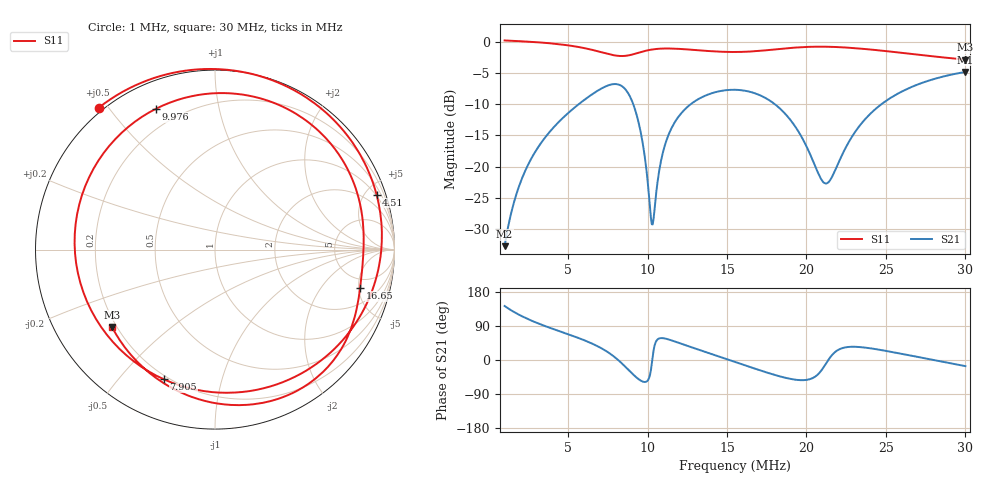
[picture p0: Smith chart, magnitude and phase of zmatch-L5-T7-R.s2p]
# HZ S RI R 50
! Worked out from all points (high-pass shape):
!   505 points, 1 MHz to 30 MHz, reference 50 ohm
!   highest |S21| = -4.85 dB at 30 MHz (marker M1); lowest = -32.7 dB at 1 MHz (marker M2)
!   |S21| within 3 dB of the highest: 6.861 MHz to 8.666 MHz (1.805 MHz wide, 23.3 % of centre); 26.11 MHz to end of sweep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
!   lowest |S11| = -2.9 dB at 30 MHz (marker M3), VSWR 6.09, Z = 9.1 - j16.2 ohm
!   |S11| at or under -10 dB: nowhere
!   S12 and S22 are empty: the file has one direction only
!   S11 on the Smith chart (normalised r, x): 1 MHz: -0.01, +0.47; 4.51 MHz: 0.92, +5.90; 7.905 MHz: 0.18, -0.67; 9.976 MHz: 0.12, +0.66; 16.65 MHz: 3.65, -5.19; 30 MHz: 0.18, -0.32
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1000000  -0.6471 0.7909  -0.0183 0.014  0 0  0 0
2496040  0.2324 0.9717  -0.0314 0.0997  0 0  0 0
3531760  0.6807 0.7022  0.000543 0.1697  0 0  0 0
4509940  0.9002 0.3064  0.0601 0.2265  0 0  0 0
5833360  0.8435 -0.3048  0.1878 0.2692  0 0  0 0
7041700  0.3432 -0.7512  0.3537 0.2222  0 0  0 0
7904800  -0.2842 -0.7229  0.4526 0.0664  0 0  0 0
8940520  -0.7823 0.0328  0.2985 -0.1874  0 0  0 0
9515920  -0.6201 0.5386  0.1214 -0.1614  0 0  0 0
9976240  -0.33 0.7841  0.0465 -0.0678  0 0  0 0
1.032148e7  -0.0942 0.8614  0.0339 0.00575  0 0  0 0
1.066672e7  0.1213 0.8675  0.0465 0.0678  0 0  0 0
1.129966e7  0.4269 0.7708  0.103 0.1441  0 0  0 0
1.245046e7  0.7177 0.4864  0.2326 0.1826  0 0  0 0
1.550008e7  0.8233 -0.0696  0.4101 -0.0362  0 0  0 0
1.665088e7  0.8085 -0.2137  0.3629 -0.142  0 0  0 0
1.872232e7  0.74 -0.4836  0.1752 -0.191  0 0  0 0
2.033344e7  0.595 -0.6876  0.077 -0.0878  0 0  0 0
2.136916e7  0.4584 -0.786  0.0747 -0.000184  0 0  0 0
2.321044e7  0.1788 -0.8649  0.166 0.1145  0 0  0 0
2.51668e7  -0.1068 -0.8286  0.3193 0.1339  0 0  0 0
3.000016e7  -0.5743 -0.4308  0.5495 -0.1596  0 0  0 0
